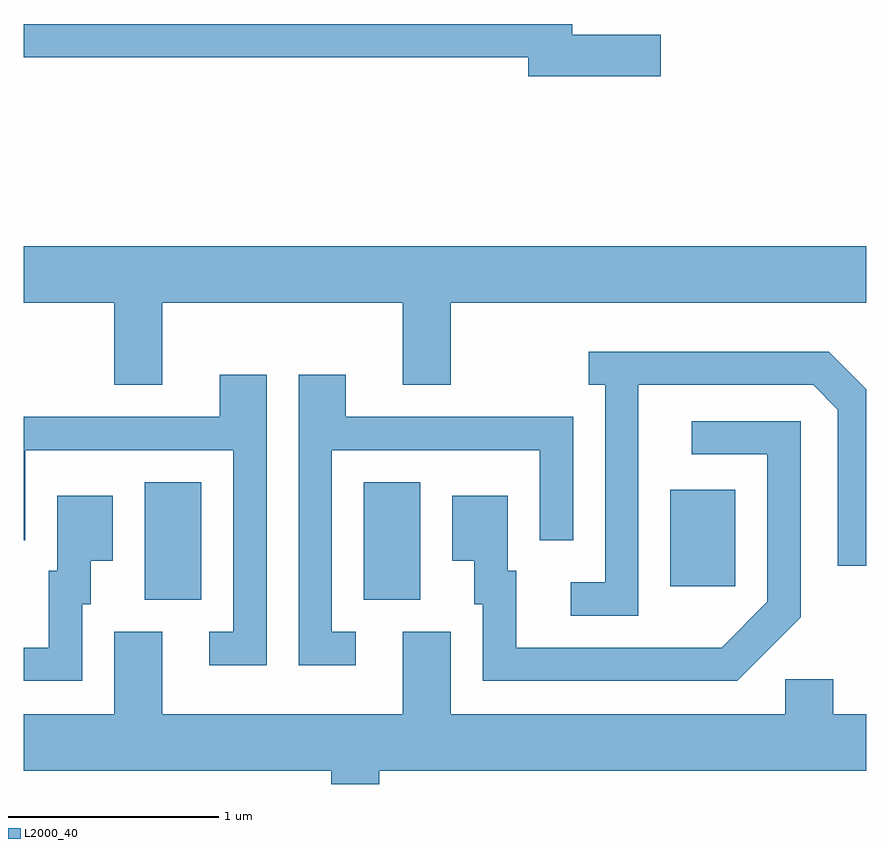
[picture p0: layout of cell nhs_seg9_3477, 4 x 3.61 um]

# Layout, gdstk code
import gdstk
lib = gdstk.Library(unit=1e-6, precision=1e-09)
def R(c, l, rs):  # rectangles x0, y0, x1, y1
    for r in rs: c.add(gdstk.rectangle(r[:2], r[2:], *l))
def P(c, l, *ps):  # polygons
    for p in ps: c.add(gdstk.Polygon(p, *l))
L2000_40 = (2000, 40)

nhs_seg9_3477 = lib.new_cell('nhs_seg9_3477')
R(nhs_seg9_3477, L2000_40, [(288.186,1979.306,288.454,1979.864), (289.226,1979.306,289.494,1979.864), (290.681,1979.371,290.989,1979.829)])
P(nhs_seg9_3477, L2000_40, [(290.634,1981.989),(290.214,1981.989),(290.214,1982.039),(287.611,1982.039),(287.611,1981.881),(290.006,1981.881),(290.006,1981.791),(290.634,1981.791)],
  [(287.611,1980.716),(288.041,1980.716),(288.041,1980.326),(288.269,1980.326),(288.269,1980.716),(289.411,1980.716),(289.411,1980.326),(289.639,1980.326),(289.639,1980.716),(291.611,1980.716),(291.611,1980.984),(287.611,1980.984)],
  [(290.529,1980.326),(291.359,1980.326),(291.476,1980.209),(291.476,1979.468),(291.611,1979.468),(291.611,1980.305),(291.432,1980.484),(290.293,1980.484),(290.293,1980.326),(290.371,1980.326),(290.371,1979.389),(290.208,1979.389),(290.208,1979.231),(290.529,1979.231)],
  [(288.764,1980.374),(288.541,1980.374),(288.541,1980.174),(287.611,1980.174),(287.611,1979.588),(287.619,1979.588),(287.619,1980.016),(288.606,1980.016),(288.606,1979.154),(288.493,1979.154),(288.493,1978.996),(288.764,1978.996)],
  [(289.188,1979.154),(289.074,1979.154),(289.074,1980.016),(290.061,1980.016),(290.061,1979.588),(290.219,1979.588),(290.219,1980.174),(289.139,1980.174),(289.139,1980.374),(288.916,1980.374),(288.916,1978.996),(289.188,1978.996)],
  [(291.299,1979.224),(291.299,1980.154),(290.783,1980.154),(290.783,1979.996),(291.141,1979.996),(291.141,1979.297),(290.924,1979.079),(289.949,1979.079),(289.949,1979.444),(289.909,1979.444),(289.909,1979.799),(289.646,1979.799),(289.646,1979.491),(289.751,1979.491),(289.751,1979.286),(289.791,1979.286),(289.791,1978.921),(290.997,1978.921)],
  [(287.889,1979.286),(287.929,1979.286),(287.929,1979.491),(288.034,1979.491),(288.034,1979.799),(287.771,1979.799),(287.771,1979.444),(287.731,1979.444),(287.731,1979.079),(287.611,1979.079),(287.611,1978.921),(287.889,1978.921)],
  [(289.299,1978.496),(291.611,1978.496),(291.611,1978.764),(291.454,1978.764),(291.454,1978.929),(291.226,1978.929),(291.226,1978.764),(289.639,1978.764),(289.639,1979.154),(289.411,1979.154),(289.411,1978.764),(288.269,1978.764),(288.269,1979.154),(288.041,1979.154),(288.041,1978.764),(287.611,1978.764),(287.611,1978.496),(289.071,1978.496),(289.071,1978.432),(289.299,1978.432)])

lib.write_gds('nhs_seg9_3477.gds')
